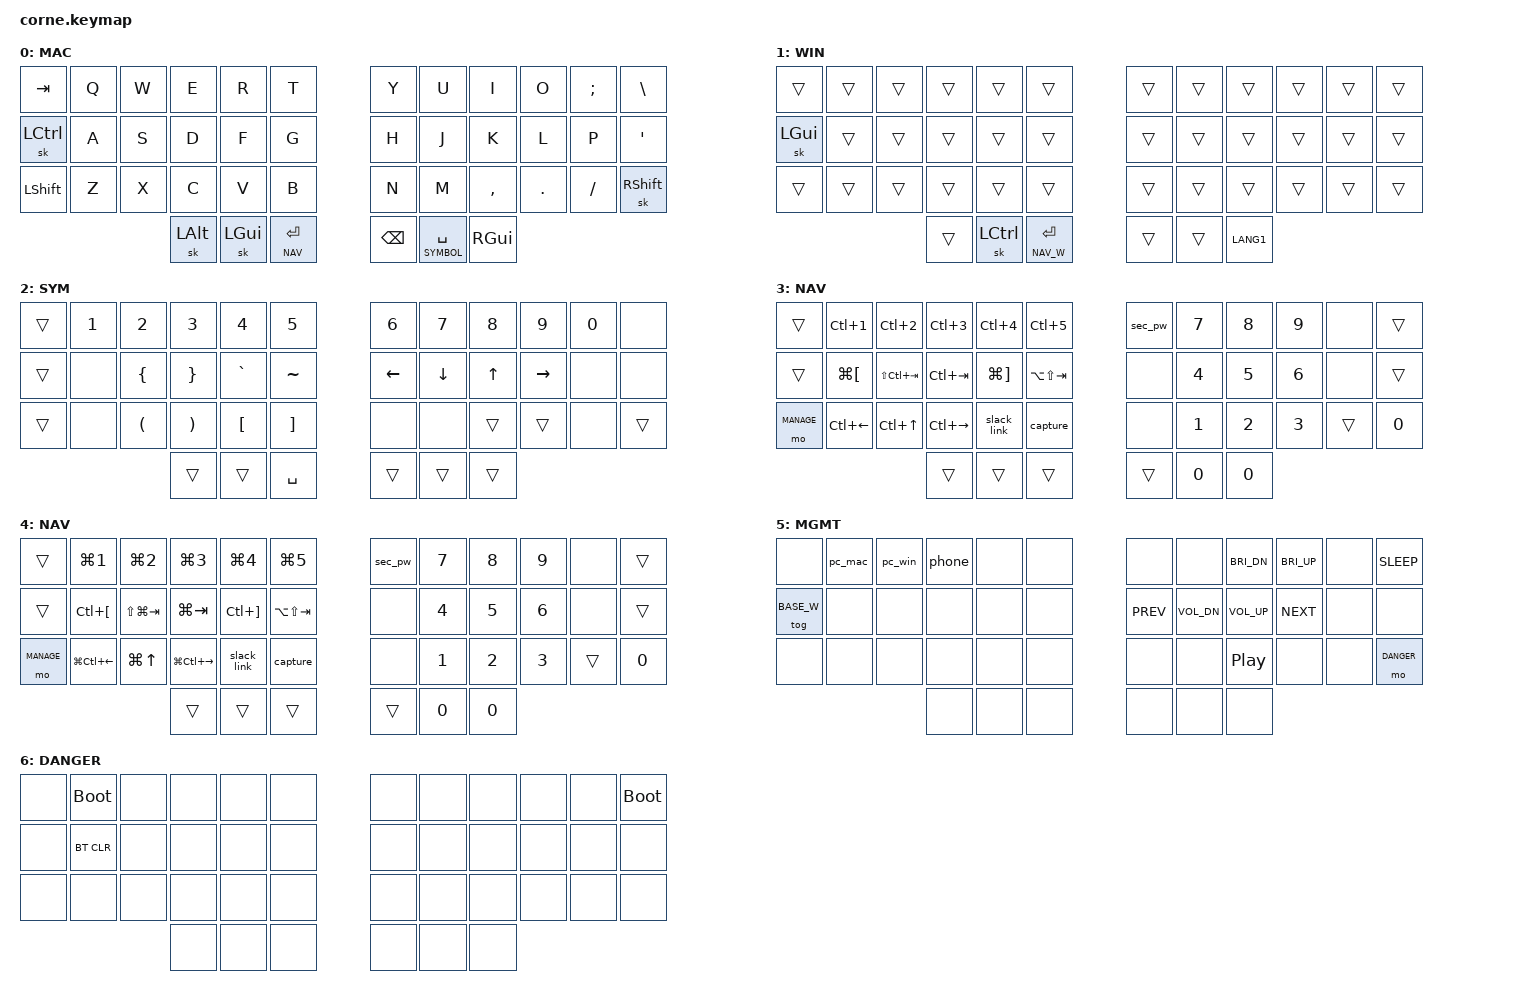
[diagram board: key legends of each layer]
/*
 * minhyeoky keymap for the wireless Corne (beekeeb, nice!nano v2 + nice!view)
 *
 * Ported from the QMK keymap (minhyeoky/qmk_firmware, keyboards/crkbd/keymaps/minhyeoky).
 *
 * Platform mode (mac / win)
 *   QMK stored the mode as one EEPROM bit (swap_lctl_lgui) that swapped Ctrl
 *   and GUI in every keymap keycode. ZMK has no such swap, so win mode is a
 *   pair of layers: BASE_W overrides the keys that differ on BASE, and NAV_W
 *   is a full copy of NAV with Ctrl/GUI swapped (a hold from BASE_W reaches
 *   NAV_W only, so NAV_W cannot fall through to NAV).
 *
 *   The PC is picked by Bluetooth profile, and the profile and the platform
 *   are the same fact: &pc_mac / &pc_win select the profile and the layer in
 *   one press. Layers are not persisted across power cycles while the profile
 *   is, so after a reboot on the win PC press &pc_win (or &tog BASE_W) once.
 *
 *   Profiles: 0 = PC1 (mac), 1 = PC2 (win), 2 = phone.
 *
 * Keys the 42-key board has no room for (the QMK ex2 column):
 *   KVM_TOGGLE   -> &pc_mac / &pc_win on MANAGE (the KVM hotkey cannot reach
 *                   a Bluetooth keyboard, so the keyboard switches itself)
 *   SEC_PW       -> NAV, Y position
 *   PLAT_TOGGLE  -> &tog BASE_W on MANAGE
 *   KVM_BEEP_OFF -> dropped (same reason as KVM_TOGGLE)
 */

#include <behaviors.dtsi>
#include <dt-bindings/zmk/keys.h>
#include <dt-bindings/zmk/bt.h>
#include <dt-bindings/zmk/pointing.h>

#define BASE    0
#define BASE_W  1
#define SYMBOL  2
#define NAV     3
#define NAV_W   4
#define MANAGE  5
#define DANGER  6

#if __has_include("secrets.dtsi")
#include "secrets.dtsi"
#else
/ {
    macros {
        sec_pw: sec_pw {
            compatible = "zmk,behavior-macro";
            #binding-cells = <0>;
            bindings = <&none>;
        };
    };
};
#endif

&lt {
    flavor = "balanced";        // QMK PERMISSIVE_HOLD
    tapping-term-ms = <150>;
    quick-tap-ms = <150>;       // QMK QUICK_TAP_TERM defaults to TAPPING_TERM
};

&sk {
    release-after-ms = <5000>;  // QMK ONESHOT_TIMEOUT
};

/ {
    combos {
        compatible = "zmk,combos";
        // QMK COMBO_TERM 20. Positions: 0-11 top row, 12-23 home, 24-35 bottom, 36-41 thumbs.
        jk_enter { timeout-ms = <20>; key-positions = <19 20>; bindings = <&kp RET>;   layers = <BASE BASE_W>; };
        ui_minus { timeout-ms = <20>; key-positions = <7 8>;   bindings = <&kp MINUS>; layers = <BASE BASE_W>; };
        io_equal { timeout-ms = <20>; key-positions = <8 9>;   bindings = <&kp EQUAL>; layers = <BASE BASE_W>; };
        mc_lbkt  { timeout-ms = <20>; key-positions = <31 32>; bindings = <&kp LBKT>;  layers = <BASE BASE_W>; };
        cd_rbkt  { timeout-ms = <20>; key-positions = <32 33>; bindings = <&kp RBKT>;  layers = <BASE BASE_W>; };
        df_esc   { timeout-ms = <20>; key-positions = <15 16>; bindings = <&kp ESC>;   layers = <BASE BASE_W>; };
        kl_colon { timeout-ms = <20>; key-positions = <20 21>; bindings = <&kp COLON>; layers = <BASE BASE_W>; };
        nm_b     { timeout-ms = <20>; key-positions = <30 31>; bindings = <&kp B>;     layers = <BASE BASE_W>; };
    };

    macros {
        pc_mac: pc_mac {
            compatible = "zmk,behavior-macro";
            #binding-cells = <0>;
            bindings = <&bt BT_SEL 0>, <&to BASE>;
        };
        pc_win: pc_win {
            compatible = "zmk,behavior-macro";
            #binding-cells = <0>;
            bindings = <&bt BT_SEL 1>, <&to BASE_W>;
        };
        phone: phone {
            compatible = "zmk,behavior-macro";
            #binding-cells = <0>;
            bindings = <&bt BT_SEL 2>, <&to BASE>;
        };
        slack_link: slack_link {
            compatible = "zmk,behavior-macro";
            #binding-cells = <0>;
            // a binding's post-release wait is the wait-ms in effect when it is queued
            bindings = <&macro_wait_time 50>, <&mkp RCLK>, <&kp L>;
        };
        capture: capture {
            compatible = "zmk,behavior-macro";
            #binding-cells = <0>;
            bindings = <&macro_wait_time 200>, <&kp LC(LS(LG(N4)))>, <&kp SPACE>;
        };
    };

    keymap {
        compatible = "zmk,keymap";

        base {
            display-name = "MAC";
            bindings = <
   &kp TAB    &kp Q &kp W &kp E &kp R &kp T                     &kp Y &kp U &kp I     &kp O   &kp SEMI &kp BSLH
   &sk LCTRL  &kp A &kp S &kp D &kp F &kp G                     &kp H &kp J &kp K     &kp L   &kp P    &kp SQT
   &kp LSHFT  &kp Z &kp X &kp C &kp V &kp B                     &kp N &kp M &kp COMMA &kp DOT &kp FSLH &sk RSHFT
                     &sk LALT &sk LGUI &lt NAV RET     &kp BSPC &lt SYMBOL SPACE &kp RGUI
            >;
        };

        base_w {
            display-name = "WIN";
            bindings = <
   &trans    &trans &trans &trans &trans &trans             &trans &trans &trans &trans &trans &trans
   &sk LGUI  &trans &trans &trans &trans &trans             &trans &trans &trans &trans &trans &trans
   &trans    &trans &trans &trans &trans &trans             &trans &trans &trans &trans &trans &trans
                     &trans &sk LCTRL &lt NAV_W RET     &trans &trans &kp LANG1
            >;
        };

        symbol {
            display-name = "SYM";
            bindings = <
   &trans &kp N1 &kp N2   &kp N3   &kp N4    &kp N5               &kp N6   &kp N7   &kp N8 &kp N9    &kp N0 &none
   &trans &none  &kp LBRC &kp RBRC &kp GRAVE &kp TILDE            &kp LEFT &kp DOWN &kp UP &kp RIGHT &none  &none
   &trans &none  &kp LPAR &kp RPAR &kp LBKT  &kp RBKT             &none    &none    &trans &trans    &none  &trans
                          &trans   &trans    &kp SPACE      &trans &trans &trans
            >;
        };

        nav {
            display-name = "NAV";
            bindings = <
   &trans      &kp LC(N1)   &kp LC(N2)    &kp LC(N3)    &kp LC(N4)  &kp LC(N5)         &sec_pw &kp N7 &kp N8 &kp N9 &none  &trans
   &trans      &kp LG(LBKT) &kp LS(LC(TAB)) &kp LC(TAB) &kp LG(RBKT) &kp LA(LS(TAB))   &none   &kp N4 &kp N5 &kp N6 &none  &trans
   &mo MANAGE  &kp LC(LEFT) &kp LC(UP)    &kp LC(RIGHT) &slack_link &capture           &none   &kp N1 &kp N2 &kp N3 &trans &kp N0
                                          &trans        &trans      &trans       &trans &kp N0 &kp N0
            >;
        };

        nav_w {
            display-name = "NAV";
            bindings = <
   &trans      &kp LG(N1)   &kp LG(N2)    &kp LG(N3)        &kp LG(N4)   &kp LG(N5)        &sec_pw &kp N7 &kp N8 &kp N9 &none  &trans
   &trans      &kp LC(LBKT) &kp LS(LG(TAB)) &kp LG(TAB)     &kp LC(RBKT) &kp LA(LS(TAB))   &none   &kp N4 &kp N5 &kp N6 &none  &trans
   &mo MANAGE  &kp LG(LC(LEFT)) &kp LG(UP) &kp LG(LC(RIGHT)) &slack_link &capture          &none   &kp N1 &kp N2 &kp N3 &trans &kp N0
                                          &trans            &trans       &trans      &trans &kp N0 &kp N0
            >;
        };

        manage {
            display-name = "MGMT";
            bindings = <
   &none           &pc_mac &pc_win &phone &none &none            &none  &none        &kp C_BRI_DN &kp C_BRI_UP &none &kp C_SLEEP
   &tog BASE_W     &none   &none   &none  &none &none            &kp C_PREV &kp C_VOL_DN &kp C_VOL_UP &kp C_NEXT &none &none
   &none           &none   &none   &none  &none &none            &none  &none        &kp C_PP     &none        &none &mo DANGER
                                   &none  &none &none      &none &none &none
            >;
        };

        danger {
            // Reached by Enter-hold + MANAGE + DANGER, like QMK.
            display-name = "DANGER";
            bindings = <
   &none &bootloader &none &none &none &none            &none &none &none &none &none &bootloader
   &none &bt BT_CLR  &none &none &none &none            &none &none &none &none &none &none
   &none &none       &none &none &none &none            &none &none &none &none &none &none
                     &none &none &none            &none &none &none
            >;
        };
    };
};
